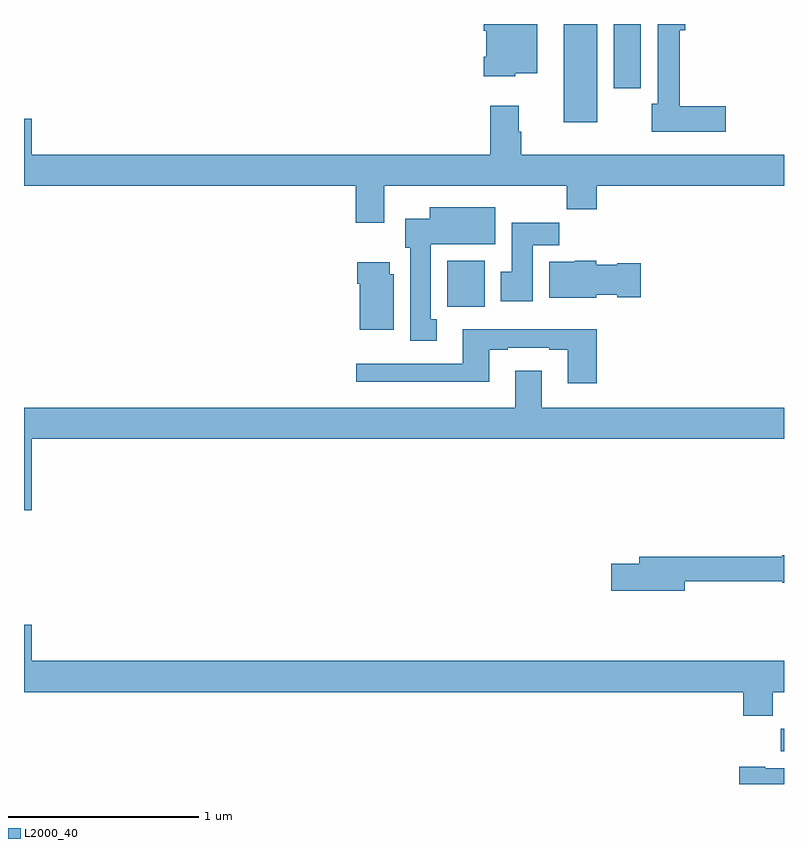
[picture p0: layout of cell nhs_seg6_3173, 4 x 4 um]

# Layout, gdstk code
import gdstk
lib = gdstk.Library(unit=1e-6, precision=1e-09)
def R(c, l, rs):  # rectangles x0, y0, x1, y1
    for r in rs: c.add(gdstk.rectangle(r[:2], r[2:], *l))
def P(c, l, *ps):  # polygons
    for p in ps: c.add(gdstk.Polygon(p, *l))
L2000_40 = (2000, 40)

nhs_seg6_3173 = lib.new_cell('nhs_seg6_3173')
R(nhs_seg6_3173, L2000_40, [(300.982,965.672,301,965.791), (299.228,968.012,299.425,968.254), (299.84,968.984,300.016,969.5), (300.104,969.162,300.247,969.5)])
P(nhs_seg6_3173, L2000_40, [(300.694,969.068),(300.452,969.068),(300.452,969.467),(300.479,969.467),(300.479,969.5),(300.336,969.5),(300.336,969.081),(300.305,969.081),(300.305,968.933),(300.694,968.933)],
  [(299.586,969.242),(299.701,969.242),(299.701,969.5),(299.42,969.5),(299.42,969.464),(299.432,969.464),(299.432,969.328),(299.42,969.328),(299.42,969.224),(299.586,969.224)],
  [(298.897,968.648),(299.857,968.648),(299.857,968.524),(300.014,968.524),(300.014,968.648),(301,968.648),(301,968.812),(299.618,968.812),(299.618,968.933),(299.605,968.933),(299.605,969.07),(299.453,969.07),(299.453,968.812),(297.04,968.812),(297.04,969.001),(297,969.001),(297,968.648),(298.745,968.648),(298.745,968.454),(298.897,968.454)],
  [(299.173,967.946),(299.14,967.946),(299.14,968.342),(299.479,968.342),(299.479,968.536),(299.135,968.536),(299.135,968.476),(299.006,968.476),(299.006,968.322),(299.033,968.322),(299.033,967.833),(299.173,967.833)],
  [(299.677,968.336),(299.816,968.336),(299.816,968.454),(299.567,968.454),(299.567,968.196),(299.51,968.196),(299.51,968.04),(299.677,968.04)],
  [(300.012,968.075),(300.123,968.075),(300.123,968.063),(300.247,968.063),(300.247,968.241),(300.123,968.241),(300.123,968.233),(300.012,968.233),(300.012,968.254),(299.898,968.254),(299.898,968.248),(299.765,968.248),(299.765,968.06),(300.012,968.06)],
  [(298.945,968.184),(298.924,968.184),(298.924,968.245),(298.754,968.245),(298.754,968.132),(298.766,968.132),(298.766,967.892),(298.945,967.892)],
  [(300.014,967.894),(299.309,967.894),(299.309,967.713),(298.749,967.713),(298.749,967.616),(299.449,967.616),(299.449,967.785),(299.545,967.785),(299.545,967.797),(299.765,967.797),(299.765,967.785),(299.861,967.785),(299.861,967.608),(300.014,967.608)],
  [(297.04,967.316),(301,967.316),(301,967.48),(299.725,967.48),(299.725,967.675),(299.585,967.675),(299.585,967.48),(297,967.48),(297,966.942),(297.04,966.942)],
  [(300.478,966.567),(300.99,966.567),(300.99,966.559),(301,966.559),(301,966.703),(300.99,966.703),(300.99,966.695),(300.239,966.695),(300.239,966.659),(300.09,966.659),(300.09,966.517),(300.478,966.517)],
  [(300.941,965.984),(301,965.984),(301,966.148),(297.04,966.148),(297.04,966.337),(297,966.337),(297,965.984),(300.785,965.984),(300.785,965.86),(300.941,965.86)],
  [(301,965.584),(300.9,965.584),(300.9,965.59),(300.764,965.59),(300.764,965.5),(301,965.5)])

lib.write_gds('nhs_seg6_3173.gds')
